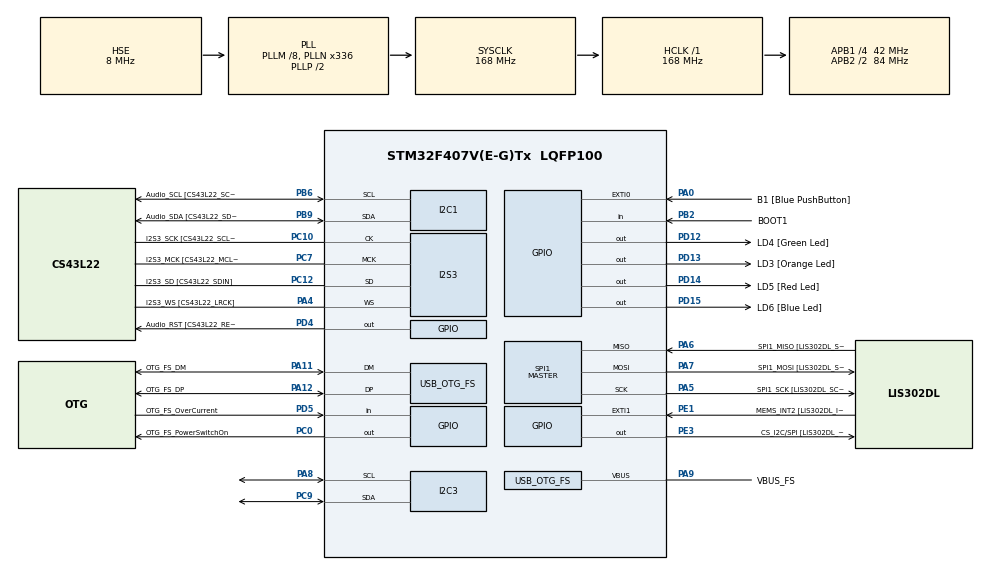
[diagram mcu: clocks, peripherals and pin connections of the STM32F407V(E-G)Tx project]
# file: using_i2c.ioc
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I2S3.AudioFreq-Half_Duplex_Master=I2S_AUDIOFREQ_96K
I2S3.ErrorAudioFreq=-2.34 %
I2S3.ErrorAudioFreq-Half_Duplex_Master=0.8 %
I2S3.FullDuplexMode=I2S_FULLDUPLEXMODE_DISABLE
I2S3.Instance=SPI$Index
I2S3.RealAudioFreq=93.75 KHz
I2S3.RealAudioFreq-Half_Duplex_Master=96.774 KHz
I2S3.VirtualMode=I2S_MODE_MASTER
Mcu.Family=STM32F4
Mcu.Name=STM32F407V(E-G)Tx
Mcu.Package=LQFP100
NVIC.OTG_FS_IRQn=true\:0\:0\:false\:false\:true\:true\:true\:true
NVIC.PriorityGroup=NVIC_PRIORITYGROUP_0
PA0-WKUP.GPIO_Label=B1 [Blue PushButton]
PA0-WKUP.GPIO_ModeDefaultEXTI=GPIO_MODE_EVT_RISING
PA0-WKUP.GPIO_PuPd=GPIO_NOPULL
PA0-WKUP.Signal=GPXTI0
PA10.GPIO_Label=OTG_FS_ID
PA10.GPIO_Mode=GPIO_MODE_AF_PP
PA10.GPIO_PuPd=GPIO_NOPULL
PA10.GPIO_Speed=GPIO_SPEED_FREQ_LOW
PA10.Signal=USB_OTG_FS_ID
PA11.GPIO_Label=OTG_FS_DM
PA11.GPIO_Mode=GPIO_MODE_AF_PP
PA11.GPIO_PuPd=GPIO_NOPULL
PA11.GPIO_Speed=GPIO_SPEED_FREQ_LOW
PA11.Mode=Host_Only
PA11.Signal=USB_OTG_FS_DM
PA12.GPIO_Label=OTG_FS_DP
PA12.GPIO_Mode=GPIO_MODE_AF_PP
PA12.GPIO_PuPd=GPIO_NOPULL
PA12.GPIO_Speed=GPIO_SPEED_FREQ_LOW
PA12.Mode=Host_Only
PA12.Signal=USB_OTG_FS_DP
PA13.GPIO_Label=SWDIO
PA13.Mode=Serial_Wire
PA13.Signal=SYS_JTMS-SWDIO
PA14.GPIO_Label=SWCLK
PA14.Mode=Serial_Wire
PA14.Signal=SYS_JTCK-SWCLK
PA4.GPIO_Label=I2S3_WS [CS43L22_LRCK]
PA4.GPIO_Mode=GPIO_MODE_AF_PP
PA4.GPIO_PuPd=GPIO_NOPULL
PA4.GPIO_Speed=GPIO_SPEED_FREQ_LOW
PA4.Mode=Half_Duplex_Master
PA4.Signal=I2S3_WS
PA5.GPIO_Label=SPI1_SCK [LIS302DL_SCL/SPC]
PA5.GPIO_Mode=GPIO_MODE_AF_PP
PA5.GPIO_PuPd=GPIO_NOPULL
PA5.GPIO_Speed=GPIO_SPEED_FREQ_LOW
PA5.Mode=Full_Duplex_Master
PA5.Signal=SPI1_SCK
PA6.GPIO_Label=SPI1_MISO [LIS302DL_SDO]
PA6.GPIO_Mode=GPIO_MODE_AF_PP
PA6.GPIO_PuPd=GPIO_NOPULL
PA6.GPIO_Speed=GPIO_SPEED_FREQ_LOW
PA6.Mode=Full_Duplex_Master
PA6.Signal=SPI1_MISO
PA7.GPIO_Label=SPI1_MOSI [LIS302DL_SDA/SDI/SDO]
PA7.GPIO_Mode=GPIO_MODE_AF_PP
PA7.GPIO_PuPd=GPIO_NOPULL
PA7.GPIO_Speed=GPIO_SPEED_FREQ_LOW
PA7.Mode=Full_Duplex_Master
PA7.Signal=SPI1_MOSI
PA8.Mode=I2C
PA8.Signal=I2C3_SCL
PA9.GPIO_Label=VBUS_FS
PA9.GPIO_Mode=GPIO_MODE_INPUT
PA9.GPIO_PuPd=GPIO_NOPULL
PA9.Mode=Activate_VBUS
PA9.Signal=USB_OTG_FS_VBUS
PB10.GPIO_Label=CLK_IN [MP45DT02_CLK]
PB10.GPIO_Mode=GPIO_MODE_AF_PP
PB10.GPIO_PuPd=GPIO_NOPULL
PB10.GPIO_Speed=GPIO_SPEED_FREQ_LOW
PB10.Signal=I2S2_CK
PB2.GPIO_Label=BOOT1
PB2.GPIO_Mode=GPIO_MODE_INPUT
PB2.GPIO_PuPd=GPIO_NOPULL
PB2.Signal=GPIO_Input
PB3.GPIO_Label=SWO
PB3.Signal=SYS_JTDO-SWO
PB6.GPIO_Label=Audio_SCL [CS43L22_SCL]
PB6.GPIO_Mode=GPIO_MODE_AF_OD
PB6.GPIO_Pu=GPIO_PULLUP
PB6.GPIO_PuPd=GPIO_NOPULL
PB6.GPIO_Speed=GPIO_SPEED_FREQ_LOW
PB6.Mode=I2C
PB6.Signal=I2C1_SCL
PB9.GPIO_Label=Audio_SDA [CS43L22_SDA]
PB9.GPIO_Mode=GPIO_MODE_AF_OD
PB9.GPIO_Pu=GPIO_PULLUP
PB9.GPIO_PuPd=GPIO_NOPULL
PB9.GPIO_Speed=GPIO_SPEED_FREQ_LOW
PB9.Mode=I2C
PB9.Signal=I2C1_SDA
PC0.GPIO_Label=OTG_FS_PowerSwitchOn
PC0.GPIO_PuPd=GPIO_NOPULL
PC0.GPIO_Speed=GPIO_SPEED_FREQ_LOW
PC0.PinState=GPIO_PIN_SET
PC0.Signal=GPIO_Output
PC10.GPIO_Label=I2S3_SCK [CS43L22_SCLK]
PC10.GPIO_Mode=GPIO_MODE_AF_PP
PC10.GPIO_PuPd=GPIO_NOPULL
PC10.GPIO_Speed=GPIO_SPEED_FREQ_LOW
PC10.Mode=Half_Duplex_Master
PC10.Signal=I2S3_CK
PC12.GPIO_Label=I2S3_SD [CS43L22_SDIN]
PC12.GPIO_Mode=GPIO_MODE_AF_PP
PC12.GPIO_PuPd=GPIO_NOPULL
PC12.GPIO_Speed=GPIO_SPEED_FREQ_LOW
PC12.Mode=Half_Duplex_Master
PC12.Signal=I2S3_SD
PC14-OSC32_IN.GPIO_Label=PC14-OSC32_IN
PC14-OSC32_IN.Mode=LSE-External-Oscillator
PC14-OSC32_IN.Signal=RCC_OSC32_IN
PC15-OSC32_OUT.GPIO_Label=PC15-OSC32_OUT
PC15-OSC32_OUT.Mode=LSE-External-Oscillator
PC15-OSC32_OUT.Signal=RCC_OSC32_OUT
PC3.GPIO_Label=PDM_OUT [MP45DT02_DOUT]
PC3.GPIO_Mode=GPIO_MODE_AF_PP
PC3.GPIO_PuPd=GPIO_NOPULL
PC3.GPIO_Speed=GPIO_SPEED_FREQ_LOW
PC3.Signal=I2S2_SD
PC7.GPIO_Label=I2S3_MCK [CS43L22_MCLK]
PC7.GPIO_Mode=GPIO_MODE_AF_PP
PC7.GPIO_PuPd=GPIO_NOPULL
PC7.GPIO_Speed=GPIO_SPEED_FREQ_LOW
PC7.Mode=Master_Clock_Activated
PC7.Signal=I2S3_MCK
PC9.Mode=I2C
PC9.Signal=I2C3_SDA
PD12.GPIO_Label=LD4 [Green Led]
PD12.GPIO_PuPd=GPIO_NOPULL
PD12.GPIO_Speed=GPIO_SPEED_FREQ_LOW
PD12.Signal=GPIO_Output
PD13.GPIO_Label=LD3 [Orange Led]
PD13.GPIO_PuPd=GPIO_NOPULL
PD13.GPIO_Speed=GPIO_SPEED_FREQ_LOW
PD13.Signal=GPIO_Output
PD14.GPIO_Label=LD5 [Red Led]
PD14.GPIO_PuPd=GPIO_NOPULL
PD14.GPIO_Speed=GPIO_SPEED_FREQ_LOW
PD14.Signal=GPIO_Output
PD15.GPIO_Label=LD6 [Blue Led]
PD15.GPIO_PuPd=GPIO_NOPULL
PD15.GPIO_Speed=GPIO_SPEED_FREQ_LOW
PD15.Signal=GPIO_Output
PD4.GPIO_Label=Audio_RST [CS43L22_RESET]
PD4.GPIO_PuPd=GPIO_NOPULL
PD4.GPIO_Speed=GPIO_SPEED_FREQ_LOW
PD4.Signal=GPIO_Output
PD5.GPIO_Label=OTG_FS_OverCurrent
PD5.GPIO_Mode=GPIO_MODE_INPUT
PD5.GPIO_PuPd=GPIO_NOPULL
PD5.Signal=GPIO_Input
PE1.GPIO_Label=MEMS_INT2 [LIS302DL_INT2]
PE1.GPIO_ModeDefaultEXTI=GPIO_MODE_EVT_RISING
PE1.GPIO_PuPd=GPIO_NOPULL
PE1.Signal=GPXTI1
PE3.GPIO_Label=CS_I2C/SPI [LIS302DL_CS_I2C/SPI]
PE3.GPIO_PuPd=GPIO_NOPULL
PE3.GPIO_Speed=GPIO_SPEED_FREQ_LOW
PE3.Signal=GPIO_Output
PH0-OSC_IN.GPIO_Label=PH0-OSC_IN
PH0-OSC_IN.Mode=HSE-External-Oscillator
PH0-OSC_IN.Signal=RCC_OSC_IN
PH1-OSC_OUT.GPIO_Label=PH1-OSC_OUT
PH1-OSC_OUT.Mode=HSE-External-Oscillator
PH1-OSC_OUT.Signal=RCC_OSC_OUT
ProjectManager.HeapSize=0x200
ProjectManager.StackSize=0x400
ProjectManager.TargetToolchain=STM32CubeIDE
RCC.48MHZClocksFreq_Value=48000000
RCC.AHBFreq_Value=168000000
RCC.APB1CLKDivider=RCC_HCLK_DIV4
RCC.APB1Freq_Value=42000000
RCC.APB1TimFreq_Value=84000000
RCC.APB2CLKDivider=RCC_HCLK_DIV2
RCC.APB2Freq_Value=84000000
RCC.APB2TimFreq_Value=168000000
RCC.CortexFreq_Value=168000000
RCC.HCLKFreq_Value=168000000
RCC.HSE_VALUE=8000000
RCC.HSI_VALUE=16000000
RCC.PLLM=8
RCC.PLLN=336
RCC.PLLQ=7
RCC.SYSCLKFreq_VALUE=168000000
RCC.SYSCLKSource=RCC_SYSCLKSOURCE_PLLCLK
RCC.VCOOutputFreq_Value=336000000
SPI1.BaudRatePrescaler-Full_Duplex_Master=SPI_BAUDRATEPRESCALER_2
SPI1.CalculateBaudRate-Full_Duplex_Master=42.0 MBits/s
SPI1.Direction=SPI_DIRECTION_2LINES
SPI1.Mode=SPI_MODE_MASTER
SPI1.Mode-Full_Duplex_Master=SPI_MODE_MASTER
SPI1.VirtualType=VM_MASTER
USB_HOST.BSP.number=1
USB_HOST.USBH_HandleTypeDef-CDC_FS=hUsbHostFS
USB_HOST.VirtualModeFS=Cdc
USB_HOST0.BSP.STBoard=false
USB_HOST0.BSP.api=Unknown
USB_HOST0.BSP.i2caddr=0
USB_HOST0.BSP.i2creg=0
USB_HOST0.BSP.instance=PC0
USB_HOST0.BSP.ip=GPIO
USB_HOST0.BSP.mode=Output
USB_HOST0.BSP.name=Drive_VBUS_FS
USB_HOST0.BSP.solution=PC0
USB_OTG_FS.VirtualMode=Host_Only
USB_OTG_FS.phy_itface=HCD_PHY_EMBEDDED
VP_USB_HOST_VS_USB_HOST_CDC_FS.Mode=CDC_FS
board=STM32F407G-DISC1

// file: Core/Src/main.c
/* USER CODE BEGIN Header */
/**
  ******************************************************************************
  * @file           : main.c
  * @brief          : Main program body
  ******************************************************************************
  * @attention
  *
  * Copyright (c) 2022 STMicroelectronics.
  * All rights reserved.
  *
  * This software is licensed under terms that can be found in the LICENSE file
  * in the root directory of this software component.
  * If no LICENSE file comes with this software, it is provided AS-IS.
  *
  ******************************************************************************
  */
/* USER CODE END Header */
#include "main.h"
#include "usb_host.h"

/* USER CODE BEGIN Includes */
//#include "print.c"
#include <stdio.h>
#include <math.h>
/* USER CODE END Includes */

/* USER CODE BEGIN PM */
#define PI 3.1415
/* USER CODE END PM */

 I2C_HandleTypeDef hi2c1;
I2C_HandleTypeDef hi2c3;

I2S_HandleTypeDef hi2s3;

SPI_HandleTypeDef hspi1;

void SystemClock_Config(void);
static void MX_GPIO_Init(void);
static void MX_I2C1_Init(void);
static void MX_I2S3_Init(void);
static void MX_SPI1_Init(void);
static void MX_I2C3_Init(void);
void MX_USB_HOST_Process(void);

/* USER CODE BEGIN PFP */
void calculate_IMU_error();
/* USER CODE END PFP */

/* USER CODE BEGIN 0 */

const uint8_t MPU_ADDR = 0x68;
	int16_t accx,accy,accz,tempval;
	int16_t gyrox,gyroy,gyroz;
	int16_t temperature;
	float accAngleX, accAngleY, gyroAngleX, gyroAngleY, gyroAngleZ;
	float roll, pitch, yaw;
	float AccErrorX, AccErrorY, GyroErrorX, GyroErrorY, GyroErrorZ;
	float elapsedTime, currentTime, previousTime;
	int c = 0;
/* USER CODE END 0 */

int main(void)
{

  /* MCU Configuration--------------------------------------------------------*/

  /* Reset of all peripherals, Initializes the Flash interface and the Systick. */
  HAL_Init();

  /* USER CODE BEGIN Init */
  currentTime = HAL_GetTick();
  gyroAngleX = 0;
  gyroAngleY = 0;
  gyroAngleZ = 0;
  roll = 0;
  pitch = 0 ;
  yaw = 0;
  /* USER CODE END Init */

  /* Configure the system clock */
  SystemClock_Config();

  /* Initialize all configured peripherals */
  MX_GPIO_Init();
  MX_I2C1_Init();
  MX_I2S3_Init();
  MX_SPI1_Init();
  MX_USB_HOST_Init();
  MX_I2C3_Init();
  /* USER CODE BEGIN 2 */
  HAL_I2C_Mem_Write(&hi2c3, MPU_ADDR<<1, 0x6B, 1, 0x00, 1,50);//wakes up the mpu6050
  calculate_IMU_error();
  HAL_Delay(20);
  /* USER CODE END 2 */

  /* Infinite loop */
  while (1)
  {
    MX_USB_HOST_Process();

    /* USER CODE BEGIN 3 */
    HAL_I2C_Mem_Read(&hi2c3, MPU_ADDR<<1|0x01, 0x3B, 1, &tempval, 1, 50);
    accx = tempval<<8;
    HAL_I2C_Mem_Read(&hi2c3, MPU_ADDR<<1|0x01, 0x3C, 1, &tempval, 1, 50);
    accx = accx|tempval;
    accx = accx/16348;

    HAL_I2C_Mem_Read(&hi2c3, MPU_ADDR<<1|0x01, 0x3D, 1, &tempval, 1, 50);
    accy = tempval<<8;
    HAL_I2C_Mem_Read(&hi2c3, MPU_ADDR<<1|0x01, 0x3E, 1, &tempval, 1, 50);
    accy = accy|tempval;
    accy = accy/16348;

    HAL_I2C_Mem_Read(&hi2c3, MPU_ADDR<<1|0x01, 0x3F, 1, &tempval, 1, 50);
    accz = tempval<<8;
    HAL_I2C_Mem_Read(&hi2c3, MPU_ADDR<<1|0x01, 0x40, 1, &tempval, 1, 50);
    accz = accz|tempval;
    accz = accz/16348;

    accAngleX = (atan(accy / sqrt(pow(accx, 2) + pow(accz, 2))) * 180 / PI) - 0.58; // AccErrorX ~(0.58) See the calculate_IMU_error()custom function for more details
    accAngleY = (atan(-1 * accx / sqrt(pow(accy, 2) + pow(accz, 2))) * 180 / PI) + 1.58; // AccErrorY ~(-1.58)

    previousTime = currentTime;
    currentTime = HAL_GetTick();
    elapsedTime = (currentTime - previousTime)/1000;

    HAL_I2C_Mem_Read(&hi2c3, MPU_ADDR<<1|0x01, 0x43, 1, &tempval, 1, 50);
    gyrox = tempval<<8;
    HAL_I2C_Mem_Read(&hi2c3, MPU_ADDR<<1|0x01, 0x44, 1, &tempval, 1, 50);
    gyrox = gyrox|tempval;

    HAL_I2C_Mem_Read(&hi2c3, MPU_ADDR<<1|0x01, 0x45, 1, &tempval, 1, 50);
    gyroy = tempval<<8;
    HAL_I2C_Mem_Read(&hi2c3, MPU_ADDR<<1|0x01, 0x46, 1, &tempval, 1, 50);
    gyroy = gyroy|tempval;

    HAL_I2C_Mem_Read(&hi2c3, MPU_ADDR<<1|0x01, 0x47, 1, &tempval, 1, 50);
    gyroz = tempval<<8;
    HAL_I2C_Mem_Read(&hi2c3, MPU_ADDR<<1|0x01, 0x48, 1, &tempval, 1, 50);
    gyroz = gyroz|tempval;

    gyrox = gyrox/131;
    gyroy = gyroy/131;
    gyroz = gyroz/131;

    // Correct the outputs with the calculated error values
    gyrox = gyrox + 0.56; // GyroErrorX ~(-0.56)
    gyroy = gyroy - 2; // GyroErrorY ~(2)
    gyroz = gyroz + 0.79; // GyroErrorZ ~ (-0.8)

//    Currently the raw values are in degrees per seconds, deg/s, so we need to multiply by sendonds (s) to get the angle in degrees
    gyroAngleX = gyroAngleX + gyrox * elapsedTime; // deg/s * s = deg
    gyroAngleY = gyroAngleY + gyroy * elapsedTime;
    yaw =  yaw + gyroz * elapsedTime;

    // Complementary filter - combine acceleromter and gyro angle values
    roll = 0.96 * gyroAngleX + 0.04 * accAngleX;
    pitch = 0.96 * gyroAngleY + 0.04 * accAngleY;

    // print values in the serial monitor
    printf("roll:%f / pitch:%f / yaw:%f",roll,pitch,yaw);
  }
  /* USER CODE END 3 */
}

void SystemClock_Config(void)
{
  RCC_OscInitTypeDef RCC_OscInitStruct = {0};
  RCC_ClkInitTypeDef RCC_ClkInitStruct = {0};

  /** Configure the main internal regulator output voltage
  */
  __HAL_RCC_PWR_CLK_ENABLE();
  __HAL_PWR_VOLTAGESCALING_CONFIG(PWR_REGULATOR_VOLTAGE_SCALE1);

  /** Initializes the RCC Oscillators according to the specified parameters
  * in the RCC_OscInitTypeDef structure.
  */
  RCC_OscInitStruct.OscillatorType = RCC_OSCILLATORTYPE_HSE;
  RCC_OscInitStruct.HSEState = RCC_HSE_ON;
  RCC_OscInitStruct.PLL.PLLState = RCC_PLL_ON;
  RCC_OscInitStruct.PLL.PLLSource = RCC_PLLSOURCE_HSE;
  RCC_OscInitStruct.PLL.PLLM = 8;
  RCC_OscInitStruct.PLL.PLLN = 336;
  RCC_OscInitStruct.PLL.PLLP = RCC_PLLP_DIV2;
  RCC_OscInitStruct.PLL.PLLQ = 7;
  if (HAL_RCC_OscConfig(&RCC_OscInitStruct) != HAL_OK)
  {
    Error_Handler();
  }

  /** Initializes the CPU, AHB and APB buses clocks
  */
  RCC_ClkInitStruct.ClockType = RCC_CLOCKTYPE_HCLK|RCC_CLOCKTYPE_SYSCLK
                              |RCC_CLOCKTYPE_PCLK1|RCC_CLOCKTYPE_PCLK2;
  RCC_ClkInitStruct.SYSCLKSource = RCC_SYSCLKSOURCE_PLLCLK;
  RCC_ClkInitStruct.AHBCLKDivider = RCC_SYSCLK_DIV1;
  RCC_ClkInitStruct.APB1CLKDivider = RCC_HCLK_DIV4;
  RCC_ClkInitStruct.APB2CLKDivider = RCC_HCLK_DIV2;

  if (HAL_RCC_ClockConfig(&RCC_ClkInitStruct, FLASH_LATENCY_5) != HAL_OK)
  {
    Error_Handler();
  }
}

static void MX_I2C1_Init(void)
{

  hi2c1.Instance = I2C1;
  hi2c1.Init.ClockSpeed = 100000;
  hi2c1.Init.DutyCycle = I2C_DUTYCYCLE_2;
  hi2c1.Init.OwnAddress1 = 0;
  hi2c1.Init.AddressingMode = I2C_ADDRESSINGMODE_7BIT;
  hi2c1.Init.DualAddressMode = I2C_DUALADDRESS_DISABLE;
  hi2c1.Init.OwnAddress2 = 0;
  hi2c1.Init.GeneralCallMode = I2C_GENERALCALL_DISABLE;
  hi2c1.Init.NoStretchMode = I2C_NOSTRETCH_DISABLE;
  if (HAL_I2C_Init(&hi2c1) != HAL_OK)
  {
    Error_Handler();
  }

}

static void MX_I2C3_Init(void)
{

  hi2c3.Instance = I2C3;
  hi2c3.Init.ClockSpeed = 100000;
  hi2c3.Init.DutyCycle = I2C_DUTYCYCLE_2;
  hi2c3.Init.OwnAddress1 = 0;
  hi2c3.Init.AddressingMode = I2C_ADDRESSINGMODE_7BIT;
  hi2c3.Init.DualAddressMode = I2C_DUALADDRESS_DISABLE;
  hi2c3.Init.OwnAddress2 = 0;
  hi2c3.Init.GeneralCallMode = I2C_GENERALCALL_DISABLE;
  hi2c3.Init.NoStretchMode = I2C_NOSTRETCH_DISABLE;
  if (HAL_I2C_Init(&hi2c3) != HAL_OK)
  {
    Error_Handler();
  }

}

static void MX_I2S3_Init(void)
{

  hi2s3.Instance = SPI3;
  hi2s3.Init.Mode = I2S_MODE_MASTER_TX;
  hi2s3.Init.Standard = I2S_STANDARD_PHILIPS;
  hi2s3.Init.DataFormat = I2S_DATAFORMAT_16B;
  hi2s3.Init.MCLKOutput = I2S_MCLKOUTPUT_ENABLE;
  hi2s3.Init.AudioFreq = I2S_AUDIOFREQ_96K;
  hi2s3.Init.CPOL = I2S_CPOL_LOW;
  hi2s3.Init.ClockSource = I2S_CLOCK_PLL;
  hi2s3.Init.FullDuplexMode = I2S_FULLDUPLEXMODE_DISABLE;
  if (HAL_I2S_Init(&hi2s3) != HAL_OK)
  {
    Error_Handler();
  }

}

static void MX_SPI1_Init(void)
{

  /* SPI1 parameter configuration*/
  hspi1.Instance = SPI1;
  hspi1.Init.Mode = SPI_MODE_MASTER;
  hspi1.Init.Direction = SPI_DIRECTION_2LINES;
  hspi1.Init.DataSize = SPI_DATASIZE_8BIT;
  hspi1.Init.CLKPolarity = SPI_POLARITY_LOW;
  hspi1.Init.CLKPhase = SPI_PHASE_1EDGE;
  hspi1.Init.NSS = SPI_NSS_SOFT;
  hspi1.Init.BaudRatePrescaler = SPI_BAUDRATEPRESCALER_2;
  hspi1.Init.FirstBit = SPI_FIRSTBIT_MSB;
  hspi1.Init.TIMode = SPI_TIMODE_DISABLE;
  hspi1.Init.CRCCalculation = SPI_CRCCALCULATION_DISABLE;
  hspi1.Init.CRCPolynomial = 10;
  if (HAL_SPI_Init(&hspi1) != HAL_OK)
  {
    Error_Handler();
  }

}

static void MX_GPIO_Init(void)
{
  GPIO_InitTypeDef GPIO_InitStruct = {0};

  /* GPIO Ports Clock Enable */
  __HAL_RCC_GPIOE_CLK_ENABLE();
  __HAL_RCC_GPIOC_CLK_ENABLE();
  __HAL_RCC_GPIOH_CLK_ENABLE();
  __HAL_RCC_GPIOA_CLK_ENABLE();
  __HAL_RCC_GPIOB_CLK_ENABLE();
  __HAL_RCC_GPIOD_CLK_ENABLE();

  /*Configure GPIO pin Output Level */
  HAL_GPIO_WritePin(CS_I2C_SPI_GPIO_Port, CS_I2C_SPI_Pin, GPIO_PIN_RESET);

  /*Configure GPIO pin Output Level */
  HAL_GPIO_WritePin(OTG_FS_PowerSwitchOn_GPIO_Port, OTG_FS_PowerSwitchOn_Pin, GPIO_PIN_SET);

  /*Configure GPIO pin Output Level */
  HAL_GPIO_WritePin(GPIOD, LD4_Pin|LD3_Pin|LD5_Pin|LD6_Pin
                          |Audio_RST_Pin, GPIO_PIN_RESET);

  /*Configure GPIO pin : CS_I2C_SPI_Pin */
  GPIO_InitStruct.Pin = CS_I2C_SPI_Pin;
  GPIO_InitStruct.Mode = GPIO_MODE_OUTPUT_PP;
  GPIO_InitStruct.Pull = GPIO_NOPULL;
  GPIO_InitStruct.Speed = GPIO_SPEED_FREQ_LOW;
  HAL_GPIO_Init(CS_I2C_SPI_GPIO_Port, &GPIO_InitStruct);

  /*Configure GPIO pin : OTG_FS_PowerSwitchOn_Pin */
  GPIO_InitStruct.Pin = OTG_FS_PowerSwitchOn_Pin;
  GPIO_InitStruct.Mode = GPIO_MODE_OUTPUT_PP;
  GPIO_InitStruct.Pull = GPIO_NOPULL;
  GPIO_InitStruct.Speed = GPIO_SPEED_FREQ_LOW;
  HAL_GPIO_Init(OTG_FS_PowerSwitchOn_GPIO_Port, &GPIO_InitStruct);

  /*Configure GPIO pin : PDM_OUT_Pin */
  GPIO_InitStruct.Pin = PDM_OUT_Pin;
  GPIO_InitStruct.Mode = GPIO_MODE_AF_PP;
  GPIO_InitStruct.Pull = GPIO_NOPULL;
  GPIO_InitStruct.Speed = GPIO_SPEED_FREQ_LOW;
  GPIO_InitStruct.Alternate = GPIO_AF5_SPI2;
  HAL_GPIO_Init(PDM_OUT_GPIO_Port, &GPIO_InitStruct);

  /*Configure GPIO pin : B1_Pin */
  GPIO_InitStruct.Pin = B1_Pin;
  GPIO_InitStruct.Mode = GPIO_MODE_EVT_RISING;
  GPIO_InitStruct.Pull = GPIO_NOPULL;
  HAL_GPIO_Init(B1_GPIO_Port, &GPIO_InitStruct);

  /*Configure GPIO pin : BOOT1_Pin */
  GPIO_InitStruct.Pin = BOOT1_Pin;
  GPIO_InitStruct.Mode = GPIO_MODE_INPUT;
  GPIO_InitStruct.Pull = GPIO_NOPULL;
  HAL_GPIO_Init(BOOT1_GPIO_Port, &GPIO_InitStruct);

  /*Configure GPIO pin : CLK_IN_Pin */
  GPIO_InitStruct.Pin = CLK_IN_Pin;
  GPIO_InitStruct.Mode = GPIO_MODE_AF_PP;
  GPIO_InitStruct.Pull = GPIO_NOPULL;
  GPIO_InitStruct.Speed = GPIO_SPEED_FREQ_LOW;
  GPIO_InitStruct.Alternate = GPIO_AF5_SPI2;
  HAL_GPIO_Init(CLK_IN_GPIO_Port, &GPIO_InitStruct);

  /*Configure GPIO pins : LD4_Pin LD3_Pin LD5_Pin LD6_Pin
                           Audio_RST_Pin */
  GPIO_InitStruct.Pin = LD4_Pin|LD3_Pin|LD5_Pin|LD6_Pin
                          |Audio_RST_Pin;
  GPIO_InitStruct.Mode = GPIO_MODE_OUTPUT_PP;
  GPIO_InitStruct.Pull = GPIO_NOPULL;
  GPIO_InitStruct.Speed = GPIO_SPEED_FREQ_LOW;
  HAL_GPIO_Init(GPIOD, &GPIO_InitStruct);

  /*Configure GPIO pin : OTG_FS_OverCurrent_Pin */
  GPIO_InitStruct.Pin = OTG_FS_OverCurrent_Pin;
  GPIO_InitStruct.Mode = GPIO_MODE_INPUT;
  GPIO_InitStruct.Pull = GPIO_NOPULL;
  HAL_GPIO_Init(OTG_FS_OverCurrent_GPIO_Port, &GPIO_InitStruct);

  /*Configure GPIO pin : MEMS_INT2_Pin */
  GPIO_InitStruct.Pin = MEMS_INT2_Pin;
  GPIO_InitStruct.Mode = GPIO_MODE_EVT_RISING;
  GPIO_InitStruct.Pull = GPIO_NOPULL;
  HAL_GPIO_Init(MEMS_INT2_GPIO_Port, &GPIO_InitStruct);

}

/* USER CODE BEGIN 4 */
void calculate_IMU_error(){
	AccErrorX = 0;
	AccErrorY = 0;
	GyroErrorX = 0;
	GyroErrorY = 0;
	GyroErrorZ = 0;
	while (c<200){
		HAL_I2C_Mem_Read(&hi2c3, MPU_ADDR<<1|0x01, 0x3B, 1, &tempval, 1, 50);
		accx = tempval<<8;
		HAL_I2C_Mem_Read(&hi2c3, MPU_ADDR<<1|0x01, 0x3C, 1, &tempval, 1, 50);
		accx = accx|tempval;

		HAL_I2C_Mem_Read(&hi2c3, MPU_ADDR<<1|0x01, 0x3D, 1, &tempval, 1, 50);
		accy = tempval<<8;
		HAL_I2C_Mem_Read(&hi2c3, MPU_ADDR<<1|0x01, 0x3E, 1, &tempval, 1, 50);
		accy = accy|tempval;

		HAL_I2C_Mem_Read(&hi2c3, MPU_ADDR<<1|0x01, 0x3F, 1, &tempval, 1, 50);
		accz = tempval<<8;
		HAL_I2C_Mem_Read(&hi2c3, MPU_ADDR<<1|0x01, 0x40, 1, &tempval, 1, 50);
		accz = accz|tempval;

		AccErrorX = AccErrorX + ((atan((accy) / sqrt(pow((accx), 2) + pow((accz), 2))) * 180 / PI));
		AccErrorY = AccErrorY + ((atan(-1 * (accx) / sqrt(pow((accy), 2) + pow((accz), 2))) * 180 / PI));
		c++;
	}

	//divide the sum by 200 to get error value
	AccErrorX= AccErrorX/200;
	AccErrorX=AccErrorX/200;

	c = 0;
	while(c<200){
		HAL_I2C_Mem_Read(&hi2c3, MPU_ADDR<<1|0x01, 0x43, 1, &tempval, 1, 50);
		gyrox = tempval<<8;
		HAL_I2C_Mem_Read(&hi2c3, MPU_ADDR<<1|0x01, 0x44, 1, &tempval, 1, 50);
		gyrox = gyrox|tempval;

		HAL_I2C_Mem_Read(&hi2c3, MPU_ADDR<<1|0x01, 0x45, 1, &tempval, 1, 50);
		gyroy = tempval<<8;
		HAL_I2C_Mem_Read(&hi2c3, MPU_ADDR<<1|0x01, 0x46, 1, &tempval, 1, 50);
		gyroy = gyroy|tempval;

		HAL_I2C_Mem_Read(&hi2c3, MPU_ADDR<<1|0x01, 0x47, 1, &tempval, 1, 50);
		gyroz = tempval<<8;
		HAL_I2C_Mem_Read(&hi2c3, MPU_ADDR, 0x48, 1, &tempval, 1, 50);
		gyroz = gyroz|tempval;

		GyroErrorX = GyroErrorX + (gyrox / 131.0);
		GyroErrorY = GyroErrorY + (gyroy / 131.0);
		GyroErrorZ = GyroErrorZ + (gyroz / 131.0);
		c++;
	}

	GyroErrorX = GyroErrorX / 200;
	GyroErrorY = GyroErrorY / 200;
	GyroErrorZ = GyroErrorZ / 200;

	printf("AccErrorX: %f",AccErrorX);
	printf("AccErrorY: %f",AccErrorY);
	printf("GyroErrorX: %f",GyroErrorX);
	printf("GyroErrorY: %f",GyroErrorY);
	printf("GyroErrorZ: %f",GyroErrorZ);
}
/* USER CODE END 4 */

void Error_Handler(void)
{
  __disable_irq();
  while (1)
  {
  }
}
